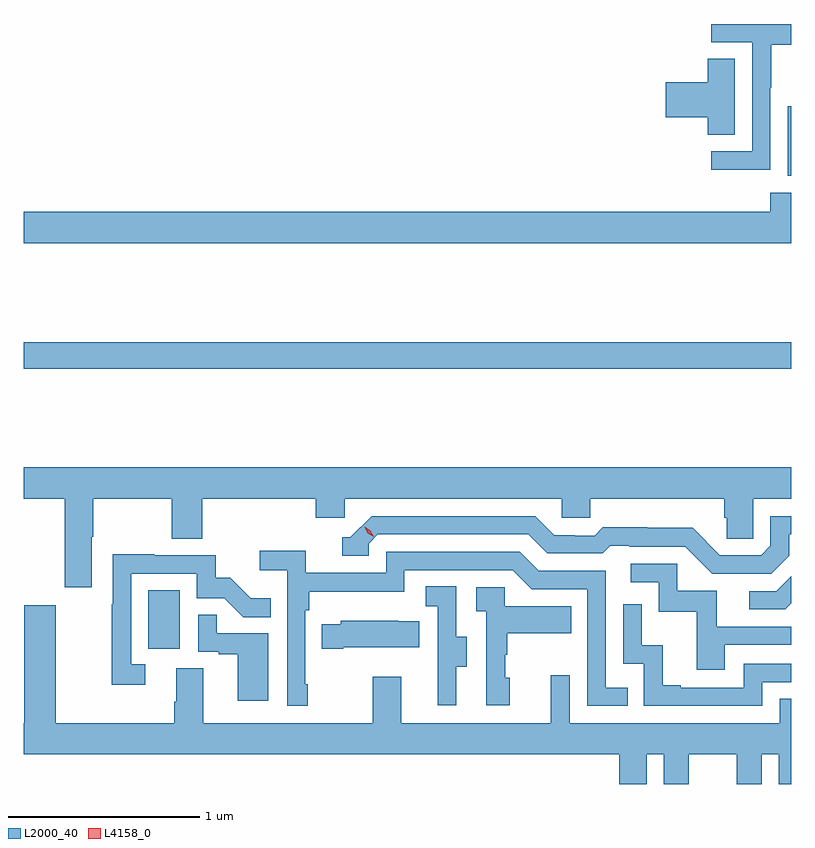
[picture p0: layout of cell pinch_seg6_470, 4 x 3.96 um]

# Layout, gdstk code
import gdstk
lib = gdstk.Library(unit=1e-6, precision=1e-09)
def R(c, l, rs):  # rectangles x0, y0, x1, y1
    for r in rs: c.add(gdstk.rectangle(r[:2], r[2:], *l))
def P(c, l, *ps):  # polygons
    for p in ps: c.add(gdstk.Polygon(p, *l))
L2000_40 = (2000, 40)
L4158_0 = (4158, 0)

pinch_seg6_470 = lib.new_cell('pinch_seg6_470')
R(pinch_seg6_470, L2000_40, [(877.052,931.902,877.216,932.209), (876.404,933.364,880.404,933.5), (880.385,934.37,880.404,934.731)])
P(pinch_seg6_470, L2000_40, [(880.296,934.828),(880.299,934.828),(880.299,935.052),(880.404,935.052),(880.404,935.16),(879.987,935.16),(879.987,935.064),(880.2,935.064),(880.2,934.497),(879.987,934.497),(879.987,934.399),(880.296,934.399)],
  [(880.111,934.979),(879.968,934.979),(879.968,934.856),(879.75,934.856),(879.75,934.673),(879.968,934.673),(879.968,934.582),(880.111,934.582)],
  [(880.404,934.279),(880.295,934.279),(880.295,934.18),(876.404,934.18),(876.404,934.016),(880.404,934.016)],
  [(876.757,932.488),(876.765,932.488),(876.765,932.684),(877.174,932.684),(877.174,932.476),(877.334,932.476),(877.334,932.684),(877.925,932.684),(877.925,932.586),(878.076,932.586),(878.076,932.684),(879.207,932.684),(879.207,932.586),(879.357,932.586),(879.357,932.684),(880.055,932.684),(880.055,932.586),(880.069,932.586),(880.069,932.476),(880.206,932.476),(880.206,932.684),(880.404,932.684),(880.404,932.848),(876.404,932.848),(876.404,932.684),(876.617,932.684),(876.617,932.223),(876.757,932.223)],
  [(880.393,932.389),(880.393,932.499),(880.404,932.499),(880.404,932.595),(880.296,932.595),(880.296,932.439),(880.248,932.391),(880.032,932.391),(879.89,932.533),(879.654,932.533),(879.654,932.536),(879.421,932.536),(879.379,932.493),(879.276,932.493),(879.276,932.496),(879.169,932.496),(879.07,932.595),(878.217,932.595),(878.106,932.484),(878.063,932.484),(878.063,932.388),(878.202,932.388),(878.202,932.451),(878.25,932.499),(879.033,932.499),(879.132,932.4),(879.421,932.4),(879.46,932.439),(879.559,932.439),(879.559,932.436),(879.852,932.436),(879.993,932.295),(880.299,932.295)],
  [(877.885,931.717),(877.872,931.717),(877.872,932.105),(877.892,932.105),(877.892,932.201),(878.388,932.201),(878.388,932.313),(878.952,932.313),(879.051,932.214),(879.342,932.214),(879.342,931.605),(879.551,931.605),(879.551,931.701),(879.438,931.701),(879.438,932.31),(879.088,932.31),(878.989,932.409),(878.292,932.409),(878.292,932.298),(877.874,932.298),(877.874,932.414),(877.635,932.414),(877.635,932.312),(877.776,932.312),(877.776,931.605),(877.885,931.605)],
  [(877.036,931.821),(876.963,931.821),(876.963,932.295),(877.305,932.295),(877.305,932.166),(877.449,932.166),(877.547,932.068),(877.691,932.068),(877.691,932.167),(877.587,932.167),(877.48,932.274),(877.404,932.274),(877.404,932.391),(877.085,932.391),(877.085,932.396),(876.867,932.396),(876.867,932.135),(876.862,932.135),(876.862,931.716),(877.036,931.716)],
  [(880.057,931.923),(880.404,931.923),(880.404,932.019),(880.015,932.019),(880.015,932.205),(879.81,932.205),(879.81,932.346),(879.567,932.346),(879.567,932.25),(879.714,932.25),(879.714,932.097),(879.913,932.097),(879.913,931.794),(880.057,931.794)],
  [(880.404,932.141),(880.404,932.28),(880.326,932.202),(880.185,932.202),(880.185,932.109),(880.372,932.109)],
  [(878.659,931.81),(878.713,931.81),(878.713,931.965),(878.658,931.965),(878.658,932.228),(878.499,932.228),(878.499,932.125),(878.562,932.125),(878.562,931.821),(878.561,931.821),(878.561,931.608),(878.659,931.608)],
  [(878.938,931.752),(878.913,931.752),(878.913,931.871),(878.923,931.871),(878.923,931.985),(879.257,931.985),(879.257,932.125),(878.91,932.125),(878.91,932.223),(878.763,932.223),(878.763,932.099),(878.814,932.099),(878.814,931.608),(878.938,931.608)],
  [(880.254,931.728),(880.404,931.728),(880.404,931.824),(880.158,931.824),(880.158,931.701),(879.829,931.701),(879.829,931.714),(879.734,931.714),(879.734,931.922),(879.624,931.922),(879.624,932.134),(879.528,932.134),(879.528,931.824),(879.636,931.824),(879.636,931.605),(880.254,931.605)],
  [(879.509,931.198),(879.652,931.198),(879.652,931.352),(879.74,931.352),(879.74,931.198),(879.871,931.198),(879.871,931.352),(880.121,931.352),(880.121,931.198),(880.252,931.198),(880.252,931.352),(880.34,931.352),(880.34,931.198),(880.404,931.198),(880.404,931.643),(880.344,931.643),(880.344,931.516),(879.249,931.516),(879.249,931.765),(879.152,931.765),(879.152,931.516),(878.371,931.516),(878.371,931.756),(878.224,931.756),(878.224,931.516),(877.339,931.516),(877.339,931.802),(877.199,931.802),(877.199,931.628),(877.187,931.628),(877.187,931.516),(876.571,931.516),(876.571,932.131),(876.407,932.131),(876.407,931.516),(876.404,931.516),(876.404,931.352),(879.509,931.352)],
  [(877.678,931.983),(877.409,931.983),(877.409,932.081),(877.314,932.081),(877.314,931.887),(877.421,931.887),(877.421,931.875),(877.52,931.875),(877.52,931.632),(877.678,931.632)],
  [(878.068,931.91),(878.465,931.91),(878.465,932.047),(878.357,932.047),(878.357,932.05),(878.055,932.05),(878.055,932.032),(877.957,932.032),(877.957,931.903),(878.068,931.903)])
P(pinch_seg6_470, L4158_0, [(878.227,932.486),(878.197,932.506),(878.18,932.538),(878.18,932.539),(878.181,932.539),(878.211,932.519),(878.228,932.487),(878.228,932.486)])

lib.write_gds('pinch_seg6_470.gds')
